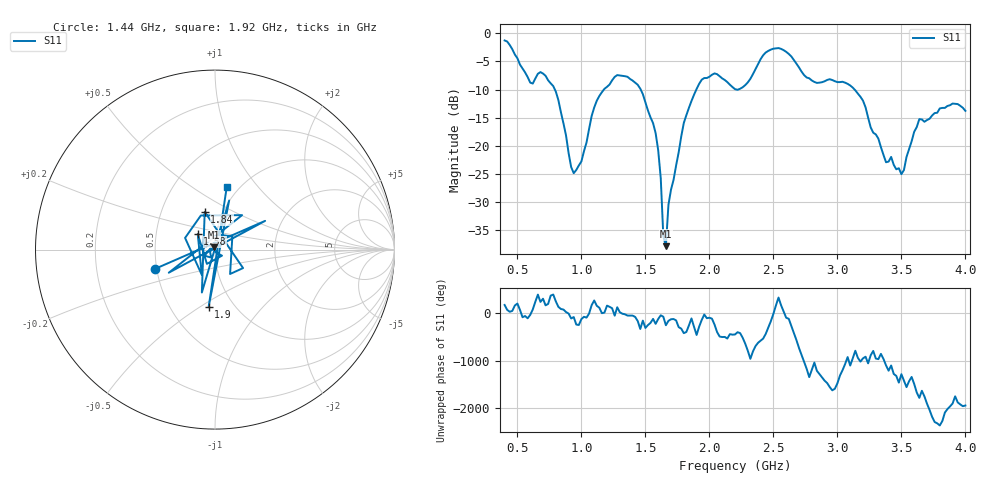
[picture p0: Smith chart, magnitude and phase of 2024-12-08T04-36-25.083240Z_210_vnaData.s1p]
!Created with skrf (http://scikit-rf.org).
# Hz S RI R 50.0
!freq ReS11 ImS11
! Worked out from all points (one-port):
!   181 points, 400 MHz to 4 GHz, reference 50 ohm
!   lowest |S11| = -37.8 dB at 1.66 GHz (marker M1), VSWR 1.03, Z = 49.6 + j1.21 ohm
!   |S11| at or under -10 dB: 792.7 MHz to 1.176 GHz (383.2 MHz wide, 38.9 % of centre); 1.463 GHz to 1.898 GHz (434.8 MHz wide, 25.9 % of centre); 3.134 GHz to end of sweep (the widest 3 of 4)
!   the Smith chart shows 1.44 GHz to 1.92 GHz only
!   S11 on the Smith chart (normalised r, x): 1.44 GHz: 0.49, -0.12; 1.58 GHz: 0.81, +0.14; 1.84 GHz: 0.82, +0.36; 1.9 GHz: 0.77, -0.54; 1.92 GHz: 0.88, +0.70
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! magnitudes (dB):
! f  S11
! 400 MHz  -1.3
! 600 MHz  -8.8
! 780 MHz  -9.4
! 860 MHz  -16.0
! 940 MHz  -24.8
! 1.12 GHz  -12.0
! 1.3 GHz  -7.5
! 1.44 GHz  -9.2
! 1.58 GHz  -17.7
! 1.62 GHz  -25.8
! 1.64 GHz  -36.0
! 1.66 GHz  -37.8
! 1.68 GHz  -30.5
! 1.76 GHz  -21.1
! 1.84 GHz  -13.2
! 1.9 GHz  -9.9
! 1.92 GHz  -9.0
! 2.04 GHz  -7.1
! 2.2 GHz  -9.9
! 2.48 GHz  -2.9
! 2.66 GHz  -4.8
! 2.82 GHz  -8.6
! 3.1 GHz  -9.3
! 3.38 GHz  -22.9
! 3.5 GHz  -25.0
! 3.56 GHz  -20.6
! 3.64 GHz  -15.2
! 4 GHz  -13.8
